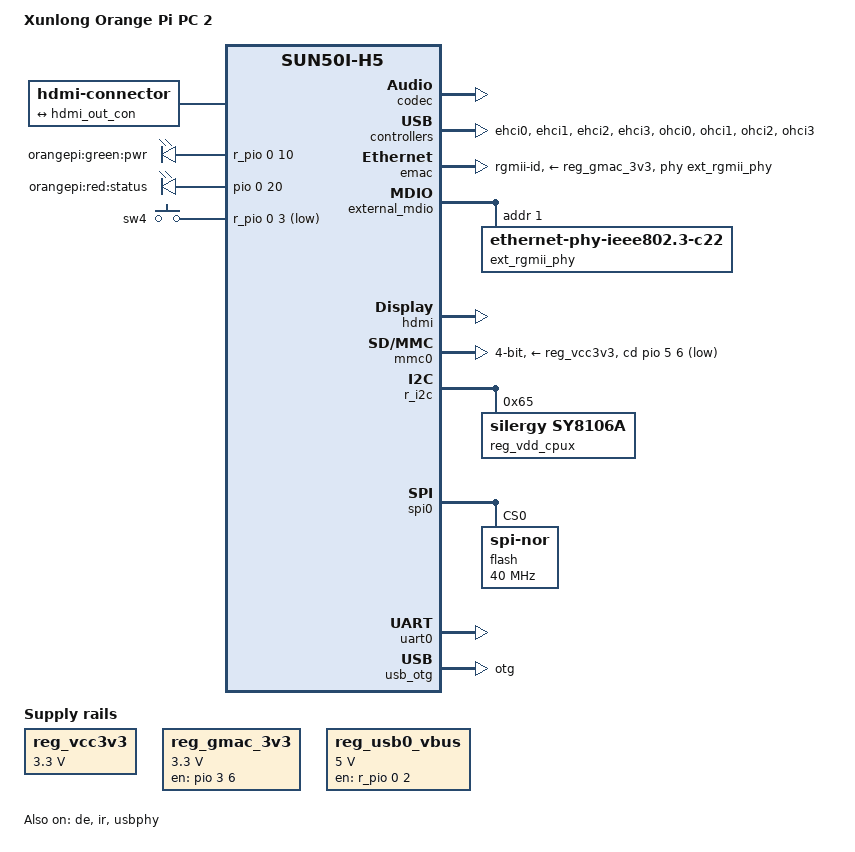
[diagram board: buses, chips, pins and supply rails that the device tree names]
// SPDX-License-Identifier: (GPL-2.0+ OR MIT)
// Copyright (C) 2016 ARM Ltd.

/dts-v1/;
#include "sun50i-h5.dtsi"

#include <dt-bindings/gpio/gpio.h>
#include <dt-bindings/input/input.h>
#include <dt-bindings/pinctrl/sun4i-a10.h>

/ {
	model = "Xunlong Orange Pi PC 2";
	compatible = "xunlong,orangepi-pc2", "allwinner,sun50i-h5";

	reg_vcc3v3: vcc3v3 {
		compatible = "regulator-fixed";
		regulator-name = "vcc3v3";
		regulator-min-microvolt = <3300000>;
		regulator-max-microvolt = <3300000>;
	};

	aliases {
		ethernet0 = &emac;
		serial0 = &uart0;
	};

	chosen {
		stdout-path = "serial0:115200n8";
	};

	connector {
		compatible = "hdmi-connector";
		type = "a";

		port {
			hdmi_con_in: endpoint {
				remote-endpoint = <&hdmi_out_con>;
			};
		};
	};

	leds {
		compatible = "gpio-leds";

		pwr {
			label = "orangepi:green:pwr";
			gpios = <&r_pio 0 10 GPIO_ACTIVE_HIGH>;
			default-state = "on";
		};

		status {
			label = "orangepi:red:status";
			gpios = <&pio 0 20 GPIO_ACTIVE_HIGH>;
		};
	};

	r-gpio-keys {
		compatible = "gpio-keys";

		sw4 {
			label = "sw4";
			linux,code = <BTN_0>;
			gpios = <&r_pio 0 3 GPIO_ACTIVE_LOW>;
			wakeup-source;
		};
	};

	reg_gmac_3v3: gmac-3v3 {
		compatible = "regulator-fixed";
		regulator-name = "gmac-3v3";
		regulator-min-microvolt = <3300000>;
		regulator-max-microvolt = <3300000>;
		startup-delay-us = <100000>;
		enable-active-high;
		gpio = <&pio 3 6 GPIO_ACTIVE_HIGH>;
	};

	reg_usb0_vbus: usb0-vbus {
		compatible = "regulator-fixed";
		regulator-name = "usb0-vbus";
		regulator-min-microvolt = <5000000>;
		regulator-max-microvolt = <5000000>;
		enable-active-high;
		gpio = <&r_pio 0 2 GPIO_ACTIVE_HIGH>; /* PL2 */
		status = "okay";
	};
};

&codec {
	allwinner,audio-routing =
		"Line Out", "LINEOUT",
		"MIC1", "Mic",
		"Mic",  "MBIAS";
	status = "okay";
};

&cpu0 {
	cpu-supply = <&reg_vdd_cpux>;
};

&de {
	status = "okay";
};

&ehci0 {
	status = "okay";
};

&ehci1 {
	status = "okay";
};

&ehci2 {
	status = "okay";
};

&ehci3 {
	status = "okay";
};

&emac {
	pinctrl-names = "default";
	pinctrl-0 = <&emac_rgmii_pins>;
	phy-supply = <&reg_gmac_3v3>;
	phy-handle = <&ext_rgmii_phy>;
	phy-mode = "rgmii-id";
	status = "okay";
};

&external_mdio {
	ext_rgmii_phy: ethernet-phy@1 {
		compatible = "ethernet-phy-ieee802.3-c22";
		reg = <1>;
	};
};

&hdmi {
	status = "okay";
};

&hdmi_out {
	hdmi_out_con: endpoint {
		remote-endpoint = <&hdmi_con_in>;
	};
};

&ir {
	pinctrl-names = "default";
	pinctrl-0 = <&r_ir_rx_pin>;
	status = "okay";
};

&mmc0 {
	vmmc-supply = <&reg_vcc3v3>;
	bus-width = <4>;
	cd-gpios = <&pio 5 6 GPIO_ACTIVE_LOW>; /* PF6 */
	status = "okay";
};

&ohci0 {
	status = "okay";
};

&ohci1 {
	status = "okay";
};

&ohci2 {
	status = "okay";
};

&ohci3 {
	status = "okay";
};

&r_i2c {
	status = "okay";

	reg_vdd_cpux: regulator@65 {
		compatible = "silergy,sy8106a";
		reg = <0x65>;
		regulator-name = "vdd-cpux";
		silergy,fixed-microvolt = <1100000>;
		regulator-min-microvolt = <1000000>;
		regulator-max-microvolt = <1400000>;
		regulator-ramp-delay = <200>;
		regulator-boot-on;
		regulator-always-on;
	};
};

&spi0  {
	status = "okay";

	flash@0 {
		#address-cells = <1>;
		#size-cells = <1>;
		compatible = "jedec,spi-nor";
		reg = <0>;
		spi-max-frequency = <40000000>;
	};
};

&uart0 {
	pinctrl-names = "default";
	pinctrl-0 = <&uart0_pa_pins>;
	status = "okay";
};

&uart1 {
	pinctrl-names = "default";
	pinctrl-0 = <&uart1_pins>;
	status = "disabled";
};

&uart2 {
	pinctrl-names = "default";
	pinctrl-0 = <&uart2_pins>;
	status = "disabled";
};

&usb_otg {
	dr_mode = "otg";
	status = "okay";
};

&usbphy {
	/* USB Type-A ports' VBUS is always on */
	usb0_id_det-gpios = <&pio 6 12 GPIO_ACTIVE_HIGH>; /* PG12 */
	usb0_vbus-supply = <&reg_usb0_vbus>;
	status = "okay";
};
